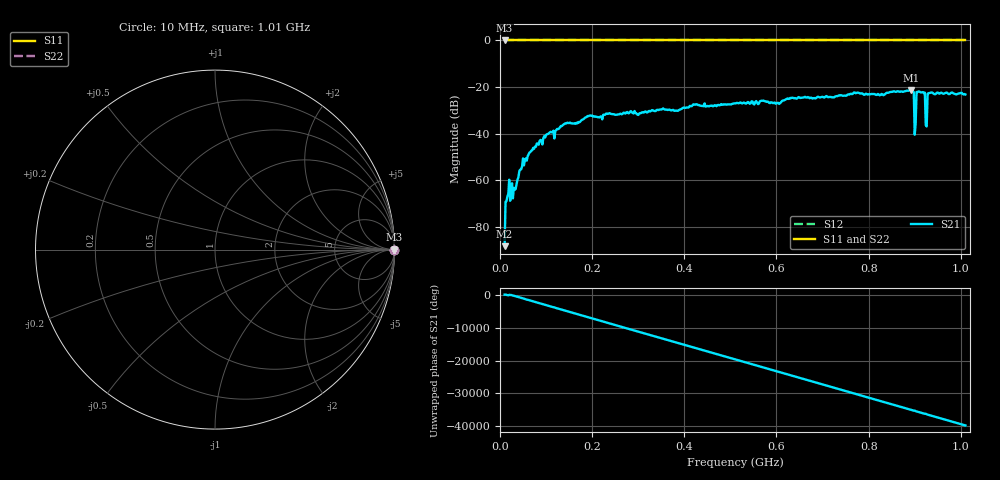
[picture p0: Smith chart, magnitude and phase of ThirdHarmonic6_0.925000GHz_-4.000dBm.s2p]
! 8/16/2025 6:10:57 AM
! C:\ANRITSUVNA\TEMP\TEMP.S2P
! CHANNEL.1
! TR.MEASUREMENT
! RAW.DATA
! RF.CORRECTION.OFF
! AVERAGING.OFF
! IF.BANDWIDTH: 5KHZ
! SWEEPTYPE:  FREQ.SWEEP(Linear)
! Reference Plane Port Info
! PORT:  PORT1  PORT2
! DISTANCE:  0  m  0  m
! TIME:  0  s  0  s
! PHASE.OFFSET:  0  deg.  0  deg.
! LOSS:  0  dB  0  dB
! REF.LOSS:  0  dB  0  dB
! REF.FREQ:  0  Hz  0  Hz
! Power Info
! POWER:  -20  dBm  -20  dBm
! EFF.POWER:  -20  dBm  -20  dBm
! SOURCE.ATTEN:  0  dB  0  dB
! TEST.ATTEN:  0  dB  0  dB
# GHZ S RI R 50.0
! FREQ.GHZ  S11RE  S11IM  S21RE  S21IM  S12RE  S12IM  S22RE  S22IM
!; PortSelection: Port_12
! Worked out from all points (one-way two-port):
!   501 points, 10 MHz to 1.01 GHz, reference 50 ohm
!   highest |S21| = -21.41 dB at 892 MHz (marker M1); lowest = -88.3 dB at 10 MHz (marker M2)
!   lowest |S11| = 0.0 dB at 10 MHz (marker M3)
!   |S11| at or under -10 dB: nowhere
!   |S22| runs from 0.0 to 0.0 dB; largest |S21 - S12| = 1.1
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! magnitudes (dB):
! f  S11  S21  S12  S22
! 10 MHz  0.0  -88.3  0.0  0.0
! 16 MHz  0.0  -67.0  0.0  0.0
! 32 MHz  0.0  -64.2  0.0  0.0
! 46 MHz  0.0  -55.3  0.0  0.0
! 68 MHz  0.0  -47.3  0.0  0.0
! 106 MHz  0.0  -39.9  0.0  0.0
! 178 MHz  0.0  -34.1  0.0  0.0
! 344 MHz  0.0  -29.9  0.0  0.0
! 510 MHz  0.0  -27.0  0.0  0.0
! 678 MHz  0.0  -25.0  0.0  0.0
! 844 MHz  0.0  -22.4  0.0  0.0
! 892 MHz  0.0  -21.4  0.0  0.0
! 894 MHz  0.0  -21.5  0.0  0.0
! 898 MHz  0.0  -22.2  0.0  0.0
! 902 MHz  0.0  -36.0  0.0  0.0
! 904 MHz  0.0  -22.1  0.0  0.0
! 908 MHz  0.0  -21.9  0.0  0.0
! 918 MHz  0.0  -22.2  0.0  0.0
! 924 MHz  0.0  -36.4  0.0  0.0
! 928 MHz  0.0  -22.9  0.0  0.0
! 932 MHz  0.0  -22.6  0.0  0.0
! 1.01 GHz  0.0  -23.2  0.0  0.0
